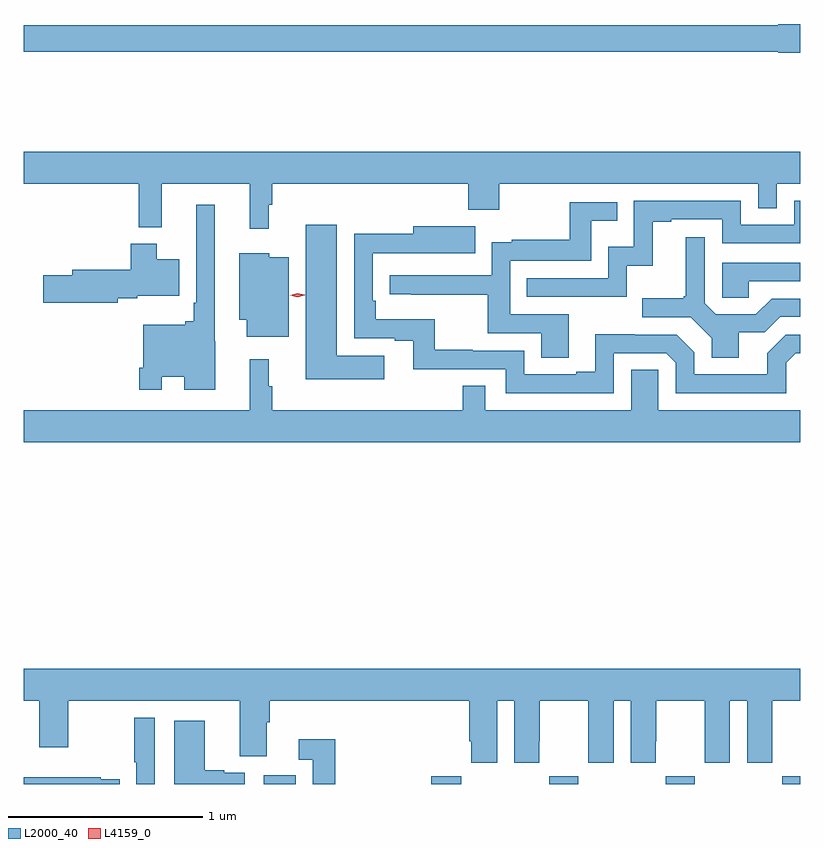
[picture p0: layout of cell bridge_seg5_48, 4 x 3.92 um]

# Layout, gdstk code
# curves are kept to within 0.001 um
import gdstk
lib = gdstk.Library(unit=1e-6, precision=1e-09)
def R(c, l, rs):  # rectangles x0, y0, x1, y1
    for r in rs: c.add(gdstk.rectangle(r[:2], r[2:], *l))
def P(c, l, *ps):  # polygons
    for p in ps: c.add(gdstk.Polygon(p, *l))
L2000_40 = (2000, 40)
L4159_0 = (4159, 0)

bridge_seg5_48 = lib.new_cell('bridge_seg5_48')
R(bridge_seg5_48, L2000_40, [(852.008,866.987,852.172,867.031), (852.872,866.987,853.025,867.028), (853.479,866.987,853.629,867.028), (854.079,866.987,854.229,867.028), (854.679,866.987,854.772,867.028)])
P(bridge_seg5_48, L2000_40, [(854.772,870.902),(854.658,870.902),(854.658,870.896),(850.772,870.896),(850.772,870.76),(854.658,870.76),(854.658,870.755),(854.772,870.755)],
  [(852.035,869.972),(852.053,869.972),(852.053,870.08),(853.061,870.08),(853.061,869.945),(853.221,869.945),(853.221,870.08),(854.556,870.08),(854.556,869.953),(854.652,869.953),(854.652,870.08),(854.772,870.08),(854.772,870.244),(850.772,870.244),(850.772,870.08),(851.365,870.08),(851.365,869.855),(851.483,869.855),(851.483,870.08),(851.936,870.08),(851.936,869.847),(852.035,869.847)],
  [(853.878,869.657),(854.011,869.657),(854.011,869.883),(854.107,869.883),(854.107,869.895),(854.37,869.895),(854.37,869.772),(854.772,869.772),(854.772,869.991),(854.742,869.991),(854.742,869.868),(854.466,869.868),(854.466,869.991),(853.914,869.991),(853.914,869.755),(853.782,869.755),(853.782,869.592),(853.363,869.592),(853.363,869.496),(853.878,869.496)],
  [(853.579,869.406),(853.278,869.406),(853.278,869.682),(853.695,869.682),(853.695,869.888),(853.829,869.888),(853.829,869.985),(853.584,869.985),(853.584,869.791),(853.285,869.791),(853.285,869.779),(853.182,869.779),(853.182,869.607),(852.657,869.607),(852.657,869.511),(852.769,869.511),(852.769,869.506),(853.162,869.506),(853.162,869.31),(853.439,869.31),(853.439,869.182),(853.579,869.182)],
  [(851.484,869.084),(851.6,869.084),(851.6,869.019),(851.758,869.019),(851.758,869.267),(851.757,869.267),(851.757,869.971),(851.661,869.971),(851.661,869.467),(851.649,869.467),(851.649,869.371),(851.604,869.371),(851.604,869.353),(851.388,869.353),(851.388,869.131),(851.368,869.131),(851.368,869.019),(851.484,869.019)],
  [(852.628,869.194),(852.385,869.194),(852.385,869.869),(852.224,869.869),(852.224,869.072),(852.628,869.072)],
  [(853.812,869.205),(854.082,869.205),(854.13,869.157),(854.13,869.001),(854.7,869.001),(854.7,869.157),(854.748,869.205),(854.772,869.205),(854.772,869.301),(854.697,869.301),(854.603,869.207),(854.603,869.097),(854.226,869.097),(854.226,869.211),(854.136,869.301),(853.92,869.301),(853.92,869.303),(853.715,869.303),(853.715,869.11),(853.619,869.11),(853.619,869.097),(853.35,869.097),(853.35,869.22),(853.085,869.22),(853.085,869.225),(852.889,869.225),(852.889,869.38),(852.584,869.38),(852.584,869.476),(852.57,869.476),(852.57,869.721),(853.097,869.72),(853.097,869.86),(852.779,869.86),(852.779,869.822),(852.474,869.822),(852.474,869.283),(852.683,869.283),(852.683,869.271),(852.779,869.271),(852.779,869.124),(853.254,869.124),(853.254,869.001),(853.812,869.001)],
  [(854.455,869.314),(854.59,869.314),(854.67,869.394),(854.772,869.394),(854.772,869.487),(854.624,869.487),(854.543,869.406),(854.337,869.406),(854.28,869.463),(854.28,869.803),(854.183,869.803),(854.183,869.5),(854.172,869.5),(854.172,869.488),(853.959,869.488),(853.959,869.391),(854.208,869.391),(854.315,869.284),(854.315,869.182),(854.455,869.182)],
  [(851.256,869.489),(851.356,869.489),(851.356,869.501),(851.572,869.501),(851.572,869.689),(851.458,869.689),(851.458,869.77),(851.324,869.77),(851.324,869.637),(851.021,869.637),(851.021,869.607),(850.872,869.607),(850.872,869.465),(851.256,869.465)],
  [(852.136,869.701),(852.036,869.701),(852.036,869.722),(851.882,869.722),(851.882,869.378),(851.921,869.378),(851.921,869.291),(852.136,869.291)],
  [(854.507,869.577),(854.772,869.577),(854.772,869.673),(854.37,869.673),(854.37,869.493),(854.507,869.493)],
  [(854.772,868.912),(854.04,868.912),(854.04,869.12),(853.901,869.12),(853.901,868.912),(853.149,868.912),(853.149,869.039),(853.033,869.039),(853.033,868.912),(852.053,868.912),(852.053,869.036),(852.035,869.036),(852.035,869.176),(851.936,869.176),(851.936,868.912),(850.772,868.912),(850.772,868.748),(854.772,868.748)],
  [(853.21,867.416),(853.298,867.416),(853.298,867.096),(853.428,867.096),(853.428,867.208),(853.429,867.208),(853.429,867.416),(853.679,867.416),(853.679,867.208),(853.68,867.208),(853.68,867.096),(853.81,867.096),(853.81,867.416),(853.898,867.416),(853.898,867.096),(854.028,867.096),(854.028,867.208),(854.029,867.208),(854.029,867.416),(854.279,867.416),(854.279,867.208),(854.28,867.208),(854.28,867.096),(854.41,867.096),(854.41,867.416),(854.498,867.416),(854.498,867.096),(854.628,867.096),(854.628,867.208),(854.629,867.208),(854.629,867.416),(854.772,867.416),(854.772,867.58),(850.772,867.58),(850.772,867.416),(850.853,867.416),(850.853,867.177),(851.001,867.177),(851.001,867.416),(851.885,867.416),(851.885,867.13),(852.025,867.13),(852.025,867.304),(852.038,867.304),(852.038,867.416),(853.067,867.416),(853.067,867.208),(853.076,867.208),(853.076,867.096),(853.21,867.096)],
  [(851.448,867.328),(851.34,867.328),(851.34,867.1),(851.352,867.1),(851.352,866.987),(851.448,866.987)],
  [(851.91,867.045),(851.804,867.045),(851.804,867.058),(851.704,867.058),(851.704,867.313),(851.546,867.313),(851.546,866.987),(851.91,866.987)],
  [(852.377,867.217),(852.189,867.217),(852.189,867.111),(852.261,867.111),(852.261,866.987),(852.377,866.987)],
  [(851.267,867.012),(851.169,867.012),(851.169,867.022),(850.772,867.022),(850.772,866.987),(851.267,866.987)])
P(bridge_seg5_48, L4159_0, [(852.182,869.495),(852.144,869.504),(852.143,869.505),(852.144,869.505),(852.181,869.515),(852.22,869.506),(852.22,869.506),(852.22,869.505)])

lib.write_gds('bridge_seg5_48.gds')
